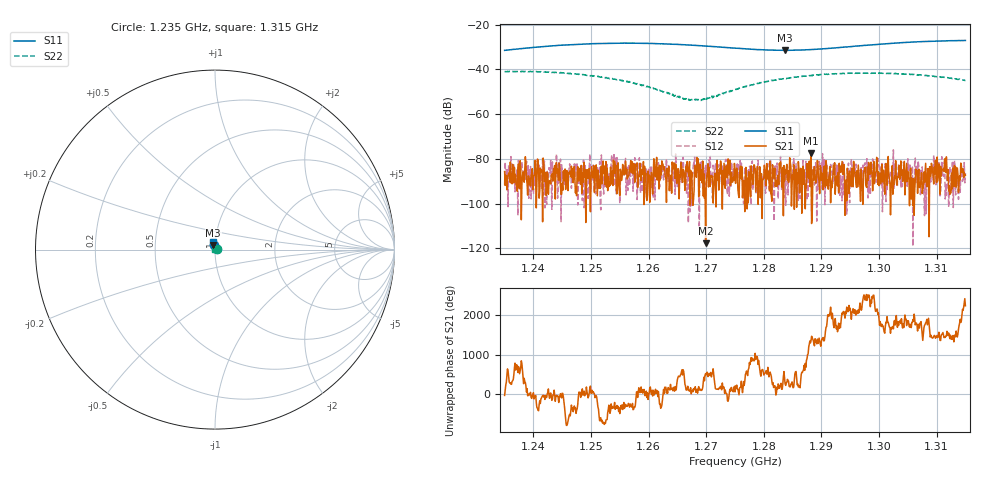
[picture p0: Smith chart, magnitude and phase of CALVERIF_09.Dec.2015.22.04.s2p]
!Agilent N9923A: A.07.32
!Date: Wednesday, 09 December 2015 22:04:26
!Model: N9923A
!Serial: MY52412257
!GPS Latitude:
!GPS Longitude:
!GPS TimeStamp: 0001-01-01 00:00:00Z
!GPS Seconds Since Last Read: 0
!CHECKSUM:0338460400
!Correction: S11(ON U)S21(ON U)S12(ON U)S22(ON U)
!S2P File: Measurements:S11,S21,S12,S22:
# Hz S DB R 50
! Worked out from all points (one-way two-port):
!   801 points, 1.235 GHz to 1.315 GHz, reference 50 ohm
!   highest |S21| = -77.42 dB at 1.288 GHz (marker M1); lowest = -117.7 dB at 1.27 GHz (marker M2)
!   lowest |S11| = -31.5 dB at 1.284 GHz (marker M3), VSWR 1.05, Z = 49 + j2.42 ohm
!   |S11| at or under -10 dB: start of sweep to end of sweep
!   |S22| runs from -53.9 to -40.9 dB; largest |S21 - S12| = 0.0002
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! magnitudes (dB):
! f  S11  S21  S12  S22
! 1.235 GHz  -31.5  -85.7  -91.6  -41.0
! 1.24 GHz  -30.1  -80.7  -92.0  -41.0
! 1.248 GHz  -28.7  -95.4  -84.7  -42.4
! 1.253 GHz  -28.4  -92.4  -88.4  -43.9
! 1.254 GHz  -28.3  -80.6  -86.9  -44.4
! 1.257 GHz  -28.3  -83.8  -91.8  -45.7
! 1.262 GHz  -28.5  -83.7  -81.7  -49.4
! 1.266 GHz  -29.0  -85.4  -85.3  -53.0
! 1.267 GHz  -29.2  -89.1  -92.7  -53.6
! 1.27 GHz  -29.6  -117.7  -82.9  -53.0
! 1.275 GHz  -30.5  -84.9  -84.9  -49.0
! 1.279 GHz  -31.2  -97.4  -87.4  -46.1
! 1.284 GHz  -31.5  -85.1  -89.6  -44.0
! 1.288 GHz  -31.2  -77.4  -88.0  -42.8
! 1.288 GHz  -31.1  -105.4  -84.8  -42.9
! 1.295 GHz  -29.9  -90.5  -86.9  -41.7
! 1.302 GHz  -28.5  -87.2  -86.0  -41.9
! 1.302 GHz  -28.4  -93.2  -87.3  -41.8
! 1.303 GHz  -28.2  -80.8  -89.0  -41.9
! 1.303 GHz  -28.2  -89.8  -86.6  -41.9
! 1.307 GHz  -27.6  -86.2  -87.7  -42.5
! 1.315 GHz  -27.1  -87.3  -86.3  -44.9
